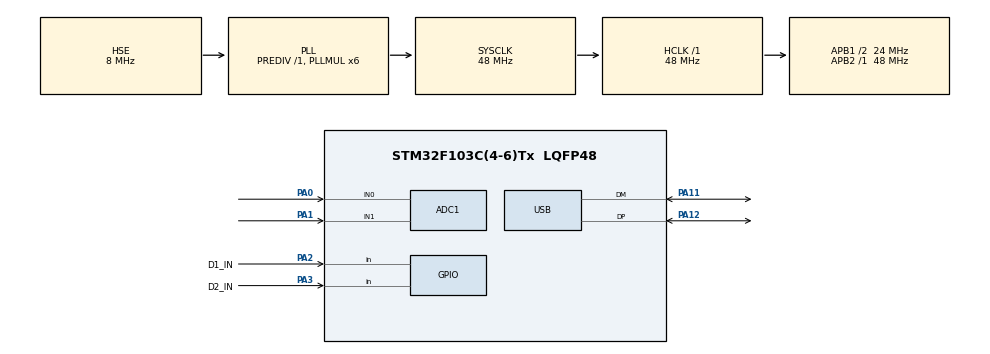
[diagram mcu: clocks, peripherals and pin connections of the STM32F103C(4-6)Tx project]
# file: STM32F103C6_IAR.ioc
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ADC1.Channel-0\#ChannelRegularConversion=ADC_CHANNEL_0
ADC1.Channel-1\#ChannelRegularConversion=ADC_CHANNEL_1
ADC1.ExternalTrigConv=ADC_EXTERNALTRIGCONV_T3_TRGO
ADC1.NbrOfConversion=2
ADC1.NbrOfConversionFlag=1
ADC1.Rank-0\#ChannelRegularConversion=1
ADC1.Rank-1\#ChannelRegularConversion=2
ADC1.SamplingTime-0\#ChannelRegularConversion=ADC_SAMPLETIME_28CYCLES_5
ADC1.SamplingTime-1\#ChannelRegularConversion=ADC_SAMPLETIME_28CYCLES_5
ADC1.master=1
Dma.ADC1.1.Direction=DMA_PERIPH_TO_MEMORY
Dma.ADC1.1.Instance=DMA1_Channel1
Dma.ADC1.1.MemDataAlignment=DMA_MDATAALIGN_HALFWORD
Dma.ADC1.1.MemInc=DMA_MINC_ENABLE
Dma.ADC1.1.Mode=DMA_CIRCULAR
Dma.ADC1.1.PeriphDataAlignment=DMA_PDATAALIGN_HALFWORD
Dma.ADC1.1.PeriphInc=DMA_PINC_DISABLE
Dma.ADC1.1.Priority=DMA_PRIORITY_VERY_HIGH
Dma.Request0=TIM3_CH4/UP
Dma.Request1=ADC1
Dma.TIM3_CH4/UP.0.Direction=DMA_PERIPH_TO_MEMORY
Dma.TIM3_CH4/UP.0.Instance=DMA1_Channel3
Dma.TIM3_CH4/UP.0.MemDataAlignment=DMA_MDATAALIGN_HALFWORD
Dma.TIM3_CH4/UP.0.MemInc=DMA_MINC_ENABLE
Dma.TIM3_CH4/UP.0.Mode=DMA_CIRCULAR
Dma.TIM3_CH4/UP.0.PeriphDataAlignment=DMA_PDATAALIGN_HALFWORD
Dma.TIM3_CH4/UP.0.PeriphInc=DMA_PINC_DISABLE
Dma.TIM3_CH4/UP.0.Priority=DMA_PRIORITY_HIGH
Mcu.Family=STM32F1
Mcu.Name=STM32F103C(4-6)Tx
Mcu.Package=LQFP48
NVIC.DMA1_Channel1_IRQn=true\:1\:0\:true\:false\:true\:false\:true\:true
NVIC.DMA1_Channel3_IRQn=true\:15\:0\:true\:false\:true\:false\:true\:true
NVIC.PriorityGroup=NVIC_PRIORITYGROUP_4
NVIC.USB_LP_CAN1_RX0_IRQn=true\:3\:0\:true\:false\:true\:false\:true\:true
PA0-WKUP.Signal=ADCx_IN0
PA1.Signal=ADCx_IN1
PA11.Mode=Device
PA11.Signal=USB_DM
PA12.Mode=Device
PA12.Signal=USB_DP
PA13.Mode=Serial_Wire
PA13.Signal=SYS_JTMS-SWDIO
PA14.Mode=Serial_Wire
PA14.Signal=SYS_JTCK-SWCLK
PA2.GPIO_Label=D1_IN
PA2.GPIO_Mode=GPIO_MODE_INPUT
PA2.GPIO_PuPd=GPIO_PULLDOWN
PA2.Signal=GPIO_Input
PA3.GPIO_Label=D2_IN
PA3.GPIO_Mode=GPIO_MODE_INPUT
PA3.GPIO_PuPd=GPIO_PULLDOWN
PA3.Signal=GPIO_Input
PD0-OSC_IN.Mode=HSE-External-Oscillator
PD0-OSC_IN.Signal=RCC_OSC_IN
PD1-OSC_OUT.Mode=HSE-External-Oscillator
PD1-OSC_OUT.Signal=RCC_OSC_OUT
ProjectManager.HeapSize=0x200
ProjectManager.StackSize=0x400
ProjectManager.TargetToolchain=EWARM V8.32
RCC.ADCPresc=RCC_ADCPCLK2_DIV4
RCC.AHBFreq_Value=48000000
RCC.APB1CLKDivider=RCC_HCLK_DIV2
RCC.APB1Freq_Value=24000000
RCC.APB1TimFreq_Value=48000000
RCC.APB2Freq_Value=48000000
RCC.APB2TimFreq_Value=48000000
RCC.HCLKFreq_Value=48000000
RCC.PLLMUL=RCC_PLL_MUL6
RCC.PLLSourceVirtual=RCC_PLLSOURCE_HSE
RCC.SYSCLKFreq_VALUE=48000000
RCC.SYSCLKSource=RCC_SYSCLKSOURCE_PLLCLK
RCC.USBFreq_Value=48000000
SH.ADCx_IN0.0=ADC1_IN0,IN0
SH.ADCx_IN1.0=ADC1_IN1,IN1
TIM3.AutoReloadPreload=TIM_AUTORELOAD_PRELOAD_ENABLE
TIM3.Period=99
TIM3.Prescaler=47
TIM3.TIM_MasterOutputTrigger=TIM_TRGO_UPDATE
USB_DEVICE.CLASS_NAME_FS=CDC
USB_DEVICE.VirtualMode=Cdc
USB_DEVICE.VirtualModeFS=Cdc_FS
VP_TIM3_VS_ClockSourceINT.Mode=Internal
VP_USB_DEVICE_VS_USB_DEVICE_CDC_FS.Mode=CDC_FS
board=custom

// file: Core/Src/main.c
/* USER CODE BEGIN Header */
/**
  ******************************************************************************
  * @file           : main.c
  * @brief          : Main program body
  ******************************************************************************
  * @attention
  *
  * Copyright (c) 2026 STMicroelectronics.
  * All rights reserved.
  *
  * This software is licensed under terms that can be found in the LICENSE file
  * in the root directory of this software component.
  * If no LICENSE file comes with this software, it is provided AS-IS.
  *
  ******************************************************************************
  */
/* USER CODE END Header */
#include "main.h"
#include "usb_device.h"

/* USER CODE BEGIN Includes */
#include "usbd_cdc_if.h"
#include "framer.h"
#include "shell.h"
#include <stdio.h>
#include <string.h>
/* USER CODE END Includes */

ADC_HandleTypeDef hadc1;
DMA_HandleTypeDef hdma_adc1;

TIM_HandleTypeDef htim3;
DMA_HandleTypeDef hdma_tim3_ch4_up;

/* USER CODE BEGIN PV */
/* Sampler buffers (spec: Docs/30_Firmware/02 + 06). Ping-pong: one half = one
   SLP block of 32 ticks. adc_buf holds [a1, a2] halfword pairs per tick,
   gpio_buf holds raw GPIOA->IDR snapshots taken by DMA on every TIM3 update. */
#define SMP_HALF_TICKS 32u
static uint16_t adc_buf[2u * SMP_HALF_TICKS * 2u];  /* 128 halfwords, HT at 64  */
static uint16_t gpio_buf[2u * SMP_HALF_TICKS];      /* 64 halfwords             */
static volatile uint8_t  smp_half_ready;            /* bit0 = 1st half, bit1 = 2nd */
static volatile uint32_t smp_tick_count;            /* ticks sampled since start */
static volatile uint32_t smp_half_start[2];         /* absolute first tick of each half */

/* SLP link state (protocol: Docs/20_Protocol/01_Protocol_SLP_v1.md) */
#define SLP_D1_BIT 2u /* D1 = PA2 -> bit 2 of GPIOA->IDR */
#define SLP_D2_BIT 3u /* D2 = PA3 -> bit 3 of GPIOA->IDR */
static slp_framer_t     slp_fr;
static slp_shell_t      slp_sh;
static volatile uint8_t slp_run;       /* 0 = STOP (default), 1 = streaming     */
static uint32_t         slp_tick_base; /* tick epoch: reset on every START      */
static uint32_t         slp_dropped;   /* DATA blocks dropped on USB backpressure */
static uint16_t         slp_cmd_err;   /* unknown commands received             */
static uint8_t          slp_data_frame[SLP_DATA_FRAME_LEN];
static uint8_t          slp_resp_frame[160];
static uint16_t         slp_resp_len;  /* 0 = nothing pending                   */
/* USER CODE END PV */

void SystemClock_Config(void);
static void MX_GPIO_Init(void);
static void MX_DMA_Init(void);
static void MX_TIM3_Init(void);
static void MX_ADC1_Init(void);

/* USER CODE BEGIN 0 */
/* Queue a response frame; if the previous one is still pending, the new one is
   dropped (commands are human-paced, this never happens in practice). */
static void slp_queue_response(uint8_t type, const char *json)
{
  if (slp_resp_len == 0u)
  {
    slp_resp_len = slp_build_frame(&slp_fr, slp_resp_frame, type,
                                   (const uint8_t *)json, (uint16_t)strlen(json));
  }
}

static void slp_handle_cmd(slp_cmd_t c)
{
  char js[96];

  switch (c)
  {
    case SLP_CMD_PING:
      slp_queue_response(SLP_TYPE_RESP, "{\"pong\":1}");
      break;

    case SLP_CMD_INFO:
      slp_queue_response(SLP_TYPE_RESP,
        "{\"fw\":\"0.1.0\",\"proto\":\"1.0\",\"mcu\":\"F103C6\","
        "\"rate\":10000,\"ch\":\"A2D2\",\"vref_mv\":3300}");
      break;

    case SLP_CMD_STAT:
      (void)snprintf(js, sizeof(js),
        "{\"run\":%u,\"tick\":%lu,\"dropped\":%lu,\"cmd_err\":%u}",
        (unsigned)slp_run,
        (unsigned long)(smp_tick_count - slp_tick_base),
        (unsigned long)slp_dropped,
        (unsigned)slp_cmd_err);
      slp_queue_response(SLP_TYPE_STAT, js);
      break;

    case SLP_CMD_START: /* new tick epoch, SEQ restarts (protocol §3) */
      slp_framer_reset(&slp_fr);
      slp_tick_base = smp_tick_count;
      smp_half_ready = 0u;
      slp_dropped = 0u;
      slp_run = 1u;
      slp_queue_response(SLP_TYPE_RESP, "{\"ok\":\"START\"}");
      break;

    case SLP_CMD_STOP:
      slp_run = 0u;
      slp_queue_response(SLP_TYPE_RESP, "{\"ok\":\"STOP\"}");
      break;

    default:
      slp_cmd_err++;
      slp_queue_response(SLP_TYPE_ERR, "{\"err\":\"unknown cmd\"}");
      break;
  }
}
/* USER CODE END 0 */

int main(void)
{

  /* USER CODE BEGIN 1 */
  uint32_t led_ts = 0U;
  /* USER CODE END 1 */

  /* MCU Configuration--------------------------------------------------------*/

  /* Reset of all peripherals, Initializes the Flash interface and the Systick. */
  HAL_Init();

  /* Configure the system clock */
  SystemClock_Config();

  /* USER CODE BEGIN SysInit */
  /* Force USB re-enumeration: BluePill-style boards have a fixed D+ pull-up, so
     the host may latch a stale device state across resets. Pulling D+ (PA12) low
     for 50 ms makes the host see a disconnect and enumerate afresh. */
  {
    GPIO_InitTypeDef reenum = {0};
    __HAL_RCC_GPIOA_CLK_ENABLE();
    reenum.Pin = GPIO_PIN_12;
    reenum.Mode = GPIO_MODE_OUTPUT_PP;
    reenum.Speed = GPIO_SPEED_FREQ_LOW;
    HAL_GPIO_Init(GPIOA, &reenum);
    HAL_GPIO_WritePin(GPIOA, GPIO_PIN_12, GPIO_PIN_RESET);
    HAL_Delay(50);
    HAL_GPIO_DeInit(GPIOA, GPIO_PIN_12);
  }
  /* USER CODE END SysInit */

  /* Initialize all configured peripherals */
  MX_GPIO_Init();
  MX_DMA_Init();
  MX_USB_DEVICE_Init();
  MX_TIM3_Init();
  MX_ADC1_Init();
  /* USER CODE BEGIN 2 */
  slp_framer_reset(&slp_fr);
  slp_shell_reset(&slp_sh);

  /* Start the free-running sampler. Order matters for phase alignment
     (Docs/30_Firmware/02): DMA channels first, ADC armed by TIM3 TRGO,
     the timer starts last so both streams begin on the same update event. */
  HAL_ADCEx_Calibration_Start(&hadc1);
  HAL_ADC_Start_DMA(&hadc1, (uint32_t *)adc_buf, 2u * SMP_HALF_TICKS * 2u);
  HAL_DMA_Start(&hdma_tim3_ch4_up, (uint32_t)&GPIOA->IDR, (uint32_t)gpio_buf,
                2u * SMP_HALF_TICKS);
  __HAL_TIM_ENABLE_DMA(&htim3, TIM_DMA_UPDATE);
  HAL_TIM_Base_Start(&htim3);
  /* USER CODE END 2 */

  /* Infinite loop */
  while (1)
  {

    /* USER CODE BEGIN 3 */
    /* LED heartbeat: 1 Hz idle, 5 Hz while streaming (30/01 LED policy). */
    if ((HAL_GetTick() - led_ts) >= (slp_run ? 100U : 500U))
    {
      led_ts = HAL_GetTick();
      HAL_GPIO_TogglePin(GPIOC, GPIO_PIN_13);
    }

    /* 1) push the pending response frame, if any (must not be lost) */
    if ((slp_resp_len > 0U) &&
        (CDC_Transmit_FS(slp_resp_frame, slp_resp_len) == USBD_OK))
    {
      slp_resp_len = 0U;
    }

    /* 2) feed incoming bytes to the command shell (CORE) */
    if (slp_resp_len == 0U)
    {
      uint8_t b;
      while (CDC_ReadRx(&b, 1U) == 1U)
      {
        slp_cmd_t c = slp_shell_feed(&slp_sh, b);
        if (c != SLP_CMD_NONE)
        {
          slp_handle_cmd(c);
          break;
        }
      }
    }

    /* 3) stream finished sampler halves as SLP DATA frames */
    if (slp_run != 0U)
    {
      for (uint8_t h = 0U; h < 2U; h++)
      {
        if ((smp_half_ready & (uint8_t)(1U << h)) != 0U)
        {
          uint32_t hs = smp_half_start[h];

          __disable_irq();
          smp_half_ready &= (uint8_t)~(1U << h);
          __enable_irq();

          /* skip a half that began before this epoch's START */
          if ((int32_t)(hs - slp_tick_base) >= 0)
          {
            uint16_t n = slp_build_data_frame(&slp_fr, slp_data_frame,
                                              hs - slp_tick_base,
                                              &adc_buf[(uint16_t)h * 64U],
                                              &gpio_buf[(uint16_t)h * 32U],
                                              SLP_D1_BIT, SLP_D2_BIT);
            if (CDC_Transmit_FS(slp_data_frame, n) != USBD_OK)
            {
              slp_dropped++; /* USB backpressure: drop whole block (NFR-02) */
            }
          }
        }
      }
    }
    else
    {
      smp_half_ready = 0U;
    }
  }
  /* USER CODE END 3 */
}

void SystemClock_Config(void)
{
  RCC_OscInitTypeDef RCC_OscInitStruct = {0};
  RCC_ClkInitTypeDef RCC_ClkInitStruct = {0};
  RCC_PeriphCLKInitTypeDef PeriphClkInit = {0};

  /** Initializes the RCC Oscillators according to the specified parameters
  * in the RCC_OscInitTypeDef structure.
  */
  RCC_OscInitStruct.OscillatorType = RCC_OSCILLATORTYPE_HSE;
  RCC_OscInitStruct.HSEState = RCC_HSE_ON;
  RCC_OscInitStruct.HSEPredivValue = RCC_HSE_PREDIV_DIV1;
  RCC_OscInitStruct.HSIState = RCC_HSI_ON;
  RCC_OscInitStruct.PLL.PLLState = RCC_PLL_ON;
  RCC_OscInitStruct.PLL.PLLSource = RCC_PLLSOURCE_HSE;
  RCC_OscInitStruct.PLL.PLLMUL = RCC_PLL_MUL6;
  if (HAL_RCC_OscConfig(&RCC_OscInitStruct) != HAL_OK)
  {
    Error_Handler();
  }

  /** Initializes the CPU, AHB and APB buses clocks
  */
  RCC_ClkInitStruct.ClockType = RCC_CLOCKTYPE_HCLK|RCC_CLOCKTYPE_SYSCLK
                              |RCC_CLOCKTYPE_PCLK1|RCC_CLOCKTYPE_PCLK2;
  RCC_ClkInitStruct.SYSCLKSource = RCC_SYSCLKSOURCE_PLLCLK;
  RCC_ClkInitStruct.AHBCLKDivider = RCC_SYSCLK_DIV1;
  RCC_ClkInitStruct.APB1CLKDivider = RCC_HCLK_DIV2;
  RCC_ClkInitStruct.APB2CLKDivider = RCC_HCLK_DIV1;

  if (HAL_RCC_ClockConfig(&RCC_ClkInitStruct, FLASH_LATENCY_1) != HAL_OK)
  {
    Error_Handler();
  }
  PeriphClkInit.PeriphClockSelection = RCC_PERIPHCLK_ADC|RCC_PERIPHCLK_USB;
  PeriphClkInit.AdcClockSelection = RCC_ADCPCLK2_DIV4;
  PeriphClkInit.UsbClockSelection = RCC_USBCLKSOURCE_PLL;
  if (HAL_RCCEx_PeriphCLKConfig(&PeriphClkInit) != HAL_OK)
  {
    Error_Handler();
  }
}

static void MX_ADC1_Init(void)
{

  ADC_ChannelConfTypeDef sConfig = {0};

  /** Common config
  */
  hadc1.Instance = ADC1;
  hadc1.Init.ScanConvMode = ADC_SCAN_ENABLE;
  hadc1.Init.ContinuousConvMode = DISABLE;
  hadc1.Init.DiscontinuousConvMode = DISABLE;
  hadc1.Init.ExternalTrigConv = ADC_EXTERNALTRIGCONV_T3_TRGO;
  hadc1.Init.DataAlign = ADC_DATAALIGN_RIGHT;
  hadc1.Init.NbrOfConversion = 2;
  if (HAL_ADC_Init(&hadc1) != HAL_OK)
  {
    Error_Handler();
  }

  /** Configure Regular Channel
  */
  sConfig.Channel = ADC_CHANNEL_0;
  sConfig.Rank = ADC_REGULAR_RANK_1;
  sConfig.SamplingTime = ADC_SAMPLETIME_28CYCLES_5;
  if (HAL_ADC_ConfigChannel(&hadc1, &sConfig) != HAL_OK)
  {
    Error_Handler();
  }

  /** Configure Regular Channel
  */
  sConfig.Channel = ADC_CHANNEL_1;
  sConfig.Rank = ADC_REGULAR_RANK_2;
  if (HAL_ADC_ConfigChannel(&hadc1, &sConfig) != HAL_OK)
  {
    Error_Handler();
  }

}

static void MX_TIM3_Init(void)
{

  TIM_ClockConfigTypeDef sClockSourceConfig = {0};
  TIM_MasterConfigTypeDef sMasterConfig = {0};

  htim3.Instance = TIM3;
  htim3.Init.Prescaler = 47;
  htim3.Init.CounterMode = TIM_COUNTERMODE_UP;
  htim3.Init.Period = 99;
  htim3.Init.ClockDivision = TIM_CLOCKDIVISION_DIV1;
  htim3.Init.AutoReloadPreload = TIM_AUTORELOAD_PRELOAD_ENABLE;
  if (HAL_TIM_Base_Init(&htim3) != HAL_OK)
  {
    Error_Handler();
  }
  sClockSourceConfig.ClockSource = TIM_CLOCKSOURCE_INTERNAL;
  if (HAL_TIM_ConfigClockSource(&htim3, &sClockSourceConfig) != HAL_OK)
  {
    Error_Handler();
  }
  sMasterConfig.MasterOutputTrigger = TIM_TRGO_UPDATE;
  sMasterConfig.MasterSlaveMode = TIM_MASTERSLAVEMODE_DISABLE;
  if (HAL_TIMEx_MasterConfigSynchronization(&htim3, &sMasterConfig) != HAL_OK)
  {
    Error_Handler();
  }

}

static void MX_DMA_Init(void)
{

  /* DMA controller clock enable */
  __HAL_RCC_DMA1_CLK_ENABLE();

  /* DMA interrupt init */
  /* DMA1_Channel1_IRQn interrupt configuration */
  HAL_NVIC_SetPriority(DMA1_Channel1_IRQn, 1, 0);
  HAL_NVIC_EnableIRQ(DMA1_Channel1_IRQn);
  /* DMA1_Channel3_IRQn interrupt configuration */
  HAL_NVIC_SetPriority(DMA1_Channel3_IRQn, 15, 0);
  HAL_NVIC_EnableIRQ(DMA1_Channel3_IRQn);

}

static void MX_GPIO_Init(void)
{
  GPIO_InitTypeDef GPIO_InitStruct = {0};

  /* GPIO Ports Clock Enable */
  __HAL_RCC_GPIOD_CLK_ENABLE();
  __HAL_RCC_GPIOA_CLK_ENABLE();

  /*Configure GPIO pins : D1_IN_Pin D2_IN_Pin */
  GPIO_InitStruct.Pin = D1_IN_Pin|D2_IN_Pin;
  GPIO_InitStruct.Mode = GPIO_MODE_INPUT;
  GPIO_InitStruct.Pull = GPIO_PULLDOWN;
  HAL_GPIO_Init(GPIOA, &GPIO_InitStruct);

  /* USER CODE BEGIN MX_GPIO_Init_2 */
  /* On-board LED PC13 (active low) is not configured in the .ioc - set it up
     here so the firmware has a visible "alive" indicator. */
  {
    GPIO_InitTypeDef led = {0};
    __HAL_RCC_GPIOC_CLK_ENABLE();
    HAL_GPIO_WritePin(GPIOC, GPIO_PIN_13, GPIO_PIN_SET); /* LED off */
    led.Pin = GPIO_PIN_13;
    led.Mode = GPIO_MODE_OUTPUT_OD;
    led.Speed = GPIO_SPEED_FREQ_LOW;
    HAL_GPIO_Init(GPIOC, &led);
  }
  /* USER CODE END MX_GPIO_Init_2 */
}

/* USER CODE BEGIN 4 */
/* Sampler DMA callbacks (ADC half/full transfer): record the half's first tick,
   advance the counter, flag the half - no heavy work in interrupt context. */
void HAL_ADC_ConvHalfCpltCallback(ADC_HandleTypeDef *hadc)
{
  if (hadc->Instance == ADC1)
  {
    smp_half_start[0] = smp_tick_count;
    smp_tick_count += SMP_HALF_TICKS;
    smp_half_ready |= 1u;
  }
}

void HAL_ADC_ConvCpltCallback(ADC_HandleTypeDef *hadc)
{
  if (hadc->Instance == ADC1)
  {
    smp_half_start[1] = smp_tick_count;
    smp_tick_count += SMP_HALF_TICKS;
    smp_half_ready |= 2u;
  }
}
/* USER CODE END 4 */

void Error_Handler(void)
{
  __disable_irq();
  while (1)
  {
  }
}
